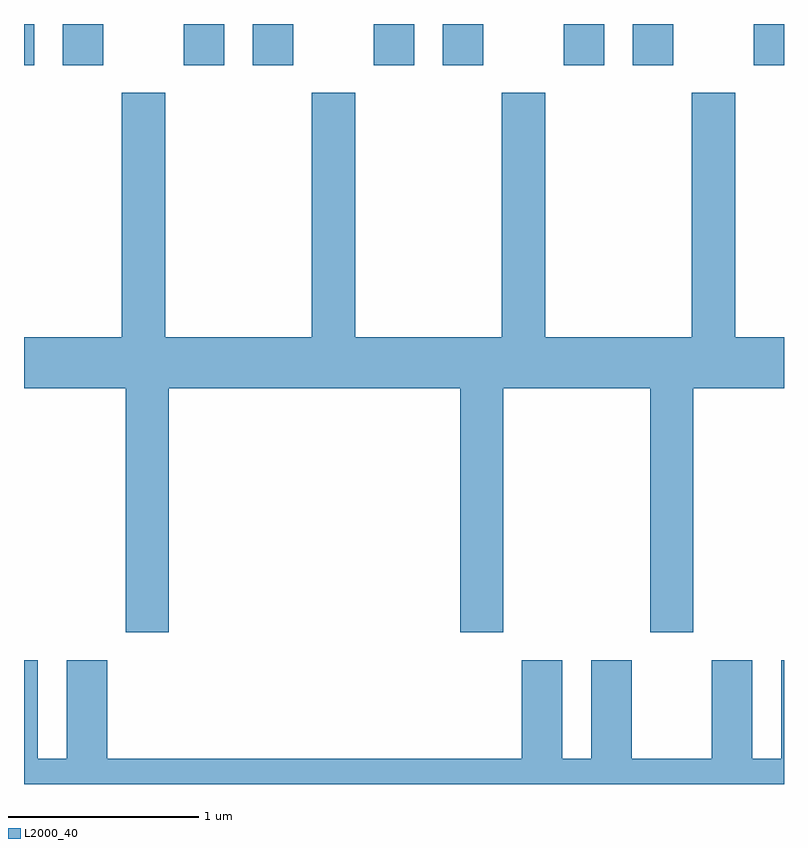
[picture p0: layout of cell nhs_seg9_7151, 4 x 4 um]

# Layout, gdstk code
import gdstk
lib = gdstk.Library(unit=1e-6, precision=1e-09)
def R(c, l, rs):  # rectangles x0, y0, x1, y1
    for r in rs: c.add(gdstk.rectangle(r[:2], r[2:], *l))
def P(c, l, *ps):  # polygons
    for p in ps: c.add(gdstk.Polygon(p, *l))
L2000_40 = (2000, 40)

nhs_seg9_7151 = lib.new_cell('nhs_seg9_7151')
R(nhs_seg9_7151, L2000_40, [(397.611,1960.216,397.664,1960.432), (397.816,1960.216,398.029,1960.432), (398.451,1960.216,398.664,1960.432), (398.816,1960.216,399.029,1960.432), (399.451,1960.216,399.664,1960.432), (399.816,1960.216,400.029,1960.432), (400.451,1960.216,400.664,1960.432), (400.816,1960.216,401.029,1960.432), (401.451,1960.216,401.611,1960.432)])
P(nhs_seg9_7151, L2000_40, [(398.374,1958.516),(399.906,1958.516),(399.906,1957.231),(400.134,1957.231),(400.134,1958.516),(400.906,1958.516),(400.906,1957.231),(401.134,1957.231),(401.134,1958.516),(401.611,1958.516),(401.611,1958.784),(401.354,1958.784),(401.354,1960.069),(401.126,1960.069),(401.126,1958.784),(400.354,1958.784),(400.354,1960.069),(400.126,1960.069),(400.126,1958.784),(399.354,1958.784),(399.354,1960.069),(399.126,1960.069),(399.126,1958.784),(398.354,1958.784),(398.354,1960.069),(398.126,1960.069),(398.126,1958.784),(397.611,1958.784),(397.611,1958.516),(398.146,1958.516),(398.146,1957.231),(398.374,1957.231)],
  [(401.611,1957.084),(401.596,1957.084),(401.596,1956.564),(401.444,1956.564),(401.444,1957.084),(401.231,1957.084),(401.231,1956.564),(400.809,1956.564),(400.809,1957.084),(400.596,1957.084),(400.596,1956.564),(400.444,1956.564),(400.444,1957.084),(400.231,1957.084),(400.231,1956.564),(398.049,1956.564),(398.049,1957.084),(397.836,1957.084),(397.836,1956.564),(397.684,1956.564),(397.684,1957.084),(397.611,1957.084),(397.611,1956.432),(401.611,1956.432)])

lib.write_gds('nhs_seg9_7151.gds')
